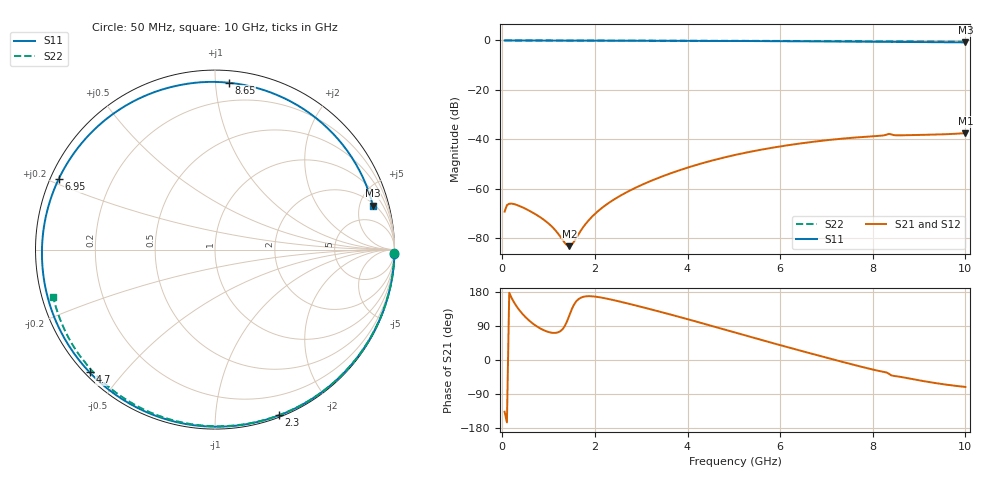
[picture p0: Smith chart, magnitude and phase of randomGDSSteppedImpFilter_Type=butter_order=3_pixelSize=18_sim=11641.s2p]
! freq	dB(S11)	phase(S11)	dB(S12)	phase(S12)
!  dB(S21)	phase(S21)	dB(S22)	phase(S22)
!S-par simulation data
#  GHz  S  DB  R 50
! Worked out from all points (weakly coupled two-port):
!   200 points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, 50 MHz to 10 GHz, reference 50 ohm
!   highest |S21| = -37.48 dB at 10 GHz (marker M1); lowest = -83.2 dB at 1.45 GHz (marker M2)
!   lowest |S11| = -0.8 dB at 10 GHz (marker M3), VSWR 22.11, Z = 111 + j329 ohm
!   |S11| at or under -10 dB: nowhere
!   |S22| runs from -0.5 to 0.0 dB; largest |S21 - S12| = 0
!   S11 on the Smith chart (normalised r, x): 50 MHz: 0, -74; 2.3 GHz: 0.02, -1.46; 4.7 GHz: 0.01, -0.41; 6.95 GHz: 0.02, +0.21; 8.65 GHz: 0.08, +1.08; 10 GHz: 2.23, +6.59
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0.05  -0.00 -1.5  -69.22 -136.6  -69.22 -136.6  -0.00 -1.0
0.1  -0.00 -3.1  -66.60 -164.6  -66.60 -164.6  -0.00 -1.9
0.15  -0.00 -4.6  -66.03 177.5  -66.03 177.5  -0.00 -2.9
0.35  -0.01 -10.8  -66.77 134.6  -66.77 134.6  -0.00 -6.7
0.9  -0.03 -27.6  -72.55 78.3  -72.55 78.3  -0.02 -17.0
1.3  -0.05 -39.6  -80.58 81.0  -80.58 81.0  -0.03 -24.5
1.45  -0.06 -44.1  -83.19 118.3  -83.19 118.3  -0.03 -27.2
1.6  -0.06 -48.5  -79.78 155.3  -79.78 155.3  -0.04 -30.0
1.75  -0.07 -52.9  -75.42 166.8  -75.42 166.8  -0.04 -32.7
2.3  -0.09 -68.8  -65.68 160.8  -65.68 160.8  -0.05 -42.7
3.4  -0.13 -99.8  -55.37 127.5  -55.37 127.5  -0.08 -62.0
4.7  -0.20 -135.6  -47.74 83.8  -47.74 83.8  -0.12 -83.6
5.05  -0.22 -145.4  -46.20 71.7  -46.20 71.7  -0.14 -89.2
5.9  -0.29 -170.2  -43.16 42.6  -43.16 42.6  -0.18 -102.5
6.7  -0.37 164.4  -41.01 16.0  -41.01 16.0  -0.22 -114.7
6.95  -0.39 155.7  -40.45 7.8  -40.45 7.8  -0.24 -118.4
7.65  -0.48 129.5  -39.21 -14.6  -39.21 -14.6  -0.29 -128.8
8.35  -0.57 99.4  -37.79 -36.4  -37.79 -36.4  -0.38 -139.1
8.65  -0.60 85.3  -38.34 -45.6  -38.34 -45.6  -0.39 -143.5
9.25  -0.68 55.1  -38.10 -58.9  -38.10 -58.9  -0.45 -152.4
9.65  -0.73 34.1  -37.86 -66.0  -37.86 -66.0  -0.50 -158.4
10  -0.79 15.5  -37.48 -71.1  -37.48 -71.1  -0.54 -163.7
